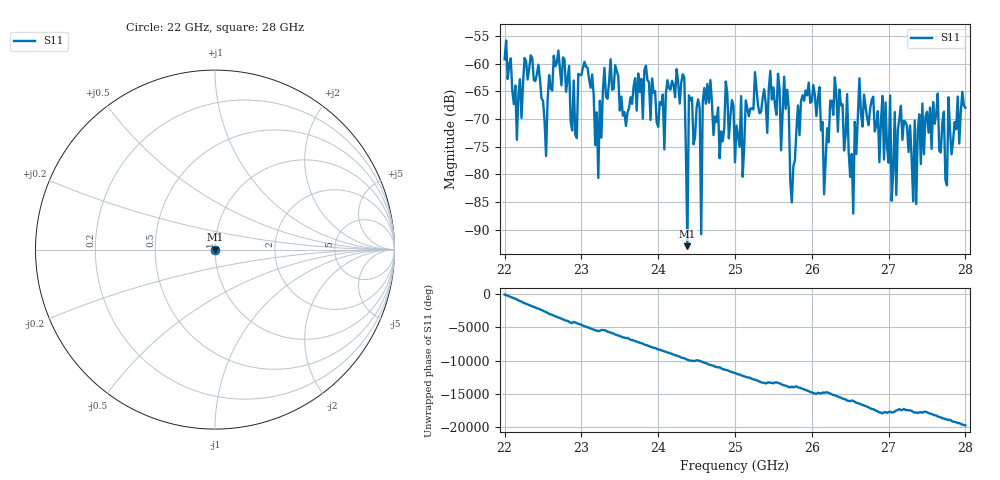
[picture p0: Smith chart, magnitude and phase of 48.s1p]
#  HZ  S  RI  R  50.00
! Rohde & Schwarz ZVA40 4Ports - Version 3.90 - 1145.1110k42 SN: 100403
! Date: 2023-10-04 07:54:43
! Measurement: S12
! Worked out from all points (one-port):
!   301 points, 22 GHz to 28 GHz, reference 50 ohm
!   lowest |S11| = -93.0 dB at 24.38 GHz (marker M1), VSWR 1.00, Z = 50 - j0.000682 ohm
!   |S11| at or under -10 dB: start of sweep to end of sweep
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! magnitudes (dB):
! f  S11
! 22 GHz  -59.2
! 22.16 GHz  -73.8
! 22.44 GHz  -60.2
! 22.54 GHz  -76.7
! 22.58 GHz  -62.1
! 22.76 GHz  -58.9
! 22.94 GHz  -73.5
! 23.14 GHz  -62.0
! 23.22 GHz  -80.6
! 23.3 GHz  -60.8
! 23.5 GHz  -68.5
! 24.26 GHz  -63.4
! 24.34 GHz  -62.5
! 24.38 GHz  -93.0
! 24.4 GHz  -65.7
! 24.56 GHz  -90.8
! 24.68 GHz  -63.0
! 25 GHz  -77.8
! 25.46 GHz  -61.3
! 25.76 GHz  -78.5
! 25.96 GHz  -63.4
! 26.16 GHz  -83.6
! 26.3 GHz  -62.5
! 26.46 GHz  -65.5
! 26.5 GHz  -80.5
! 26.62 GHz  -62.6
! 27.26 GHz  -76.0
! 28 GHz  -68.0
